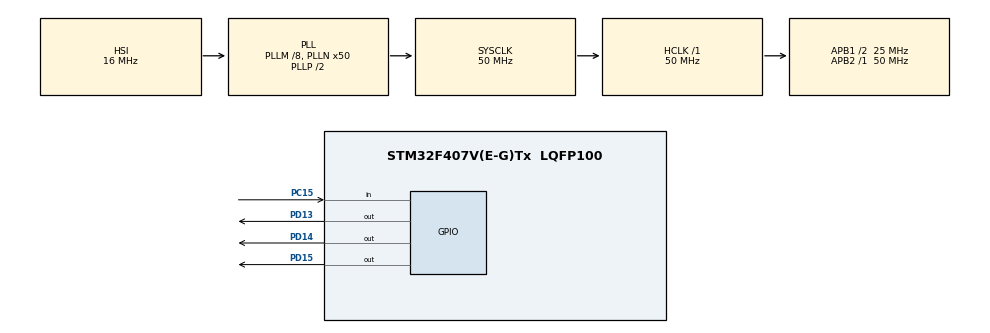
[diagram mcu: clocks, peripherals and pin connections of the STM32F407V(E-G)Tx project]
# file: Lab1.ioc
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Mcu.Family=STM32F4
Mcu.Name=STM32F407V(E-G)Tx
Mcu.Package=LQFP100
NVIC.PriorityGroup=NVIC_PRIORITYGROUP_4
PA13.Mode=JTAG_5_pins
PA13.Signal=SYS_JTMS-SWDIO
PA14.Mode=JTAG_5_pins
PA14.Signal=SYS_JTCK-SWCLK
PA15.Mode=JTAG_5_pins
PA15.Signal=SYS_JTDI
PB3.Mode=JTAG_5_pins
PB3.Signal=SYS_JTDO-SWO
PB4.Mode=JTAG_5_pins
PB4.Signal=SYS_JTRST
PC15-OSC32_OUT.Signal=GPIO_Input
PD13.Signal=GPIO_Output
PD14.Signal=GPIO_Output
PD15.Signal=GPIO_Output
ProjectManager.HeapSize=0x200
ProjectManager.StackSize=0x400
ProjectManager.TargetToolchain=STM32CubeIDE
RCC.48MHZClocksFreq_Value=25000000
RCC.AHBFreq_Value=50000000
RCC.APB1CLKDivider=RCC_HCLK_DIV2
RCC.APB1Freq_Value=25000000
RCC.APB1TimFreq_Value=50000000
RCC.APB2Freq_Value=50000000
RCC.APB2TimFreq_Value=50000000
RCC.CortexFreq_Value=50000000
RCC.HCLKFreq_Value=50000000
RCC.HSE_VALUE=25000000
RCC.HSI_VALUE=16000000
RCC.LSE_VALUE=32768
RCC.PLLM=8
RCC.PLLN=50
RCC.SYSCLKFreq_VALUE=50000000
RCC.SYSCLKSource=RCC_SYSCLKSOURCE_PLLCLK
RCC.VCOOutputFreq_Value=100000000
board=custom

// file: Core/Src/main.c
/* USER CODE BEGIN Header */
/**
  ******************************************************************************
  * @file           : main.c
  * @brief          : Main program body
  ******************************************************************************
  * @attention
  *
  * <h2><center>&copy; Copyright (c) 2021 STMicroelectronics.
  * All rights reserved.</center></h2>
  *
  * This software component is licensed by ST under BSD 3-Clause license,
  * the "License"; You may not use this file except in compliance with the
  * License. You may obtain a copy of the License at:
  *                        opensource.org/licenses/BSD-3-Clause
  *
  ******************************************************************************
  */
/* USER CODE END Header */
#include "main.h"
#include "gpio.h"

/* USER CODE BEGIN Includes */

#include "hal_driver.h"

/* USER CODE END Includes */

void SystemClock_Config(void);

/* USER CODE BEGIN 0 */

void showCurrentCountOnDiodes(int count) {
    resetAllDioids();
    switch (count) {
        case 1: {
            setLightRedDiode();
            break;
        }
        case 2: {
            setLightGreenDiode();
            break;
        }
        case 3: {
            setLightRedDiode();
            setLightGreenDiode();
            break;
        }
        default: {
            setOffGreenDiode();
            setOffRedDiode();
            break;
        }
    }
}

void showOverflow(int overFlow) {
    resetAllDioids();
    playAnimation();
    for (int i = 0; i < overFlow; i++) {
        blinkGreenDiode();
    }
}

/* USER CODE END 0 */

int main(void)
{

  /* MCU Configuration--------------------------------------------------------*/

  /* Reset of all peripherals, Initializes the Flash interface and the Systick. */
	HAL_Init();

	  int shortPressTime = 100;
	    int longPressTime = 2000;
	    int msTick = 0;
	    int state = 0;
	    int overflow = 0;
	    int currentCount = 0;
	    int isBeingProceed = 0;
	    long startTimePressedButton = 0;

	    /* Configure the system clock */
	    SystemClock_Config();

	    /* Initialize all configured peripherals */
	    MX_GPIO_Init();

	    /* Infinite loop */
	    /* USER CODE BEGIN WHILE */
	    resetAllDioids();
	    while (1)
	    {
	  	  state = getButtonState();
	  	          if (!state) {
	  	              if (!isBeingProceed){
	  	            	  startTimePressedButton = getCurrentTime();
	  	            	  isBeingProceed = 1;
	  	              }
	  	          } else {
	  	              if (isBeingProceed && getCurrentTime() - startTimePressedButton > longPressTime) {
//	  	            	  playAnimation();
	  	                  currentCount--;
	  	                  if (currentCount < 0) {
	  	                      overflow--;
	  	                      if (overflow < 0){
	  	                          overflow = 0;
	  	                          currentCount = 0;
	  	                      }else{
	  	                      showOverflow(overflow);
	  	                      currentCount = 3;
	  	                      }
	  	                  }
	  	              } else {
	  	                  if (isBeingProceed && getCurrentTime() - startTimePressedButton > shortPressTime) {
	  	                      currentCount++;
	  	                      if (currentCount >= 4) {
	  	                          overflow++;
	  	                          showOverflow(overflow);
	  	                          currentCount = 0;
	  	                      }
	  	                  }
	  	              }
	  	            isBeingProceed = 0;
	  	  			showCurrentCountOnDiodes(currentCount);
	  	          }
	  }
	  /* USER CODE END 3 */
	}

void SystemClock_Config(void)
{
  RCC_OscInitTypeDef RCC_OscInitStruct = {0};
  RCC_ClkInitTypeDef RCC_ClkInitStruct = {0};

  /** Configure the main internal regulator output voltage
  */
  __HAL_RCC_PWR_CLK_ENABLE();
  __HAL_PWR_VOLTAGESCALING_CONFIG(PWR_REGULATOR_VOLTAGE_SCALE1);
  /** Initializes the RCC Oscillators according to the specified parameters
  * in the RCC_OscInitTypeDef structure.
  */
  RCC_OscInitStruct.OscillatorType = RCC_OSCILLATORTYPE_HSI;
  RCC_OscInitStruct.HSIState = RCC_HSI_ON;
  RCC_OscInitStruct.HSICalibrationValue = RCC_HSICALIBRATION_DEFAULT;
  RCC_OscInitStruct.PLL.PLLState = RCC_PLL_ON;
  RCC_OscInitStruct.PLL.PLLSource = RCC_PLLSOURCE_HSI;
  RCC_OscInitStruct.PLL.PLLM = 8;
  RCC_OscInitStruct.PLL.PLLN = 50;
  RCC_OscInitStruct.PLL.PLLP = RCC_PLLP_DIV2;
  RCC_OscInitStruct.PLL.PLLQ = 4;
  if (HAL_RCC_OscConfig(&RCC_OscInitStruct) != HAL_OK)
  {
    Error_Handler();
  }
  /** Initializes the CPU, AHB and APB buses clocks
  */
  RCC_ClkInitStruct.ClockType = RCC_CLOCKTYPE_HCLK|RCC_CLOCKTYPE_SYSCLK
                              |RCC_CLOCKTYPE_PCLK1|RCC_CLOCKTYPE_PCLK2;
  RCC_ClkInitStruct.SYSCLKSource = RCC_SYSCLKSOURCE_PLLCLK;
  RCC_ClkInitStruct.AHBCLKDivider = RCC_SYSCLK_DIV1;
  RCC_ClkInitStruct.APB1CLKDivider = RCC_HCLK_DIV2;
  RCC_ClkInitStruct.APB2CLKDivider = RCC_HCLK_DIV1;

  if (HAL_RCC_ClockConfig(&RCC_ClkInitStruct, FLASH_LATENCY_1) != HAL_OK)
  {
    Error_Handler();
  }
}

void Error_Handler(void)
{
  __disable_irq();
  while (1)
  {
  }
}

/************************ (C) COPYRIGHT STMicroelectronics *****END OF FILE****/
